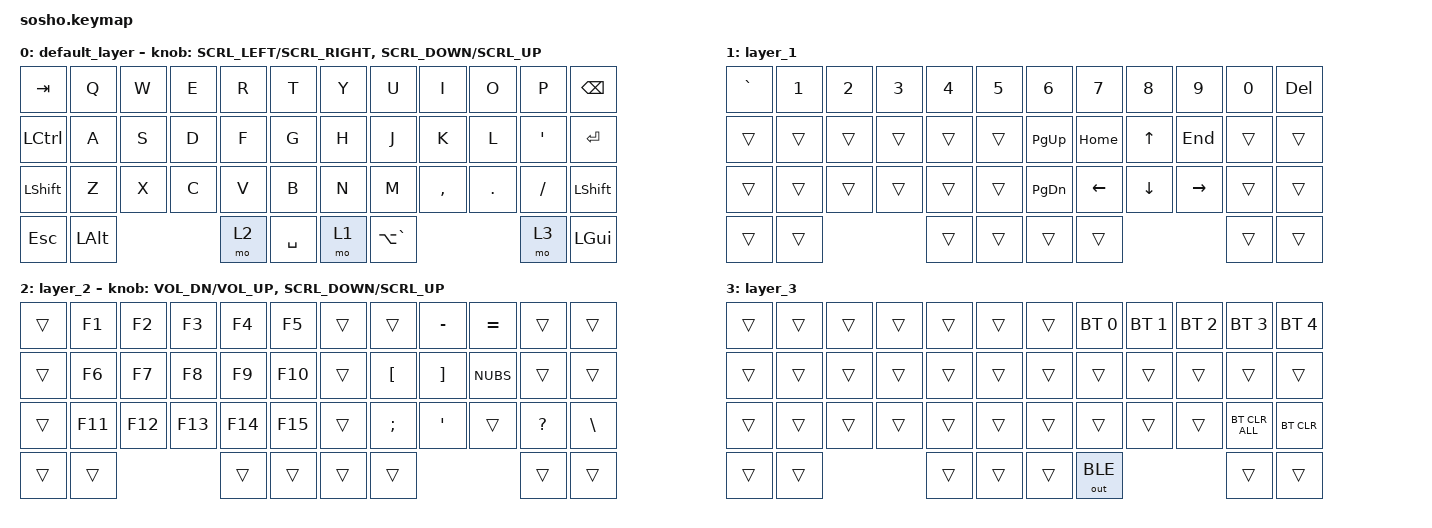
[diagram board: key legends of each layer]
#ifdef CONFIG_ZMK_STUDIO
#undef CONFIG_ZMK_STUDIO
#endif

// 最新ZMKバリアント形式（Zephyr 4.1）に右トラックボールのスクロールを強制適応
&trackball_listener {
    scroller {
        layers = <3>; // レイヤー3を長押し中にスクロール
        input-processors = <&zip_xy_to_scroll_mapper>, <&zip_scroll_scaler 1 128>;
    };
};

// スクロール量の調整（デフォルト150）
#define ZMK_POINTING_DEFAULT_SCRL_VAL 150

#include <behaviors.dtsi>
#include <dt-bindings/zmk/bt.h>
#include <dt-bindings/zmk/keys.h>
#include <dt-bindings/zmk/pointing.h>
#include <dt-bindings/zmk/outputs.h>

// 公式テンプレートの古いマクロ定義との衝突を避けるためのオーバーライド
&msc {
    time-to-max-speed-ms = <0>;
    acceleration-exponent = <0>;
};

/ {
    combos {
        compatible = "zmk,combos";
        // 左クリックのコンボ
        combo_LCLK {
            timeout-ms = <50>;
            key-positions = <19 20>;
            bindings = <&mkp LCLK>;
        };

        // 右クリックのコンボ
        combo_RCLK {
            timeout-ms = <50>;
            key-positions = <20 21>;
            bindings = <&mkp RCLK>;
        };

        // ホイールクリックのコンボ
        combo_MCLK {
            timeout-ms = <90>;
            key-positions = <19 21>;
            bindings = <&mkp MCLK>;
        };
    };
};

/ {
keymap {
    compatible = "zmk,keymap";

    default_layer {
        bindings = <
            &kp TAB    &kp Q   &kp W  &kp E  &kp R  &kp T      &kp Y  &kp U  &kp I      &kp O    &kp P     &kp BSPC
            &kp LCTRL  &kp A   &kp S  &kp D  &kp F  &kp G      &kp H  &kp J  &kp K      &kp L    &kp SQT   &kp ENTER
            &kp LSHFT  &kp Z   &kp X  &kp C  &kp V  &kp B      &kp N  &kp M  &kp COMMA  &kp DOT  &kp SLASH &kp LSHFT
            &kp ESC    &kp LALT              &mo 2  &kp SPACE  &mo 1  &kp LA(GRAVE)              &mo 3     &kp LGUI
        >;
        // 古い非推奨モジュールを完全に排除し、最新標準のスクロールに固定
        sensor-bindings = <&msc SCRL_LEFT SCRL_RIGHT &msc SCRL_DOWN SCRL_UP>;
    };
	
    layer_1 {
        bindings = <
            &kp GRAVE &kp N1  &kp N2  &kp N3  &kp N4  &kp N5       &kp N6    &kp N7   &kp N8   &kp N9    &kp N0 &kp DEL
            &trans    &trans  &trans  &trans  &trans  &trans       &kp PG_UP &kp HOME &kp UP   &kp END   &trans &trans
            &trans    &trans  &trans  &trans  &trans  &trans       &kp PG_DN &kp LEFT &kp DOWN &kp RIGHT &trans &trans
            &trans    &trans                  &trans  &trans       &trans    &trans                      &trans &trans
        >;
    };

    layer_2 {
        bindings = <
            &trans &kp F1  &kp F2  &kp F3  &kp F4  &kp F5     &trans  &trans    &kp MINUS &kp EQUAL &trans     &trans
            &trans &kp F6  &kp F7  &kp F8  &kp F9  &kp F10    &trans  &kp LBKT  &kp RBKT  &kp NUBS  &trans     &trans
            &trans &kp F11 &kp F12 &kp F13 &kp F14 &kp F15    &trans  &kp SEMI  &kp SQT   &trans    &kp QMARK  &kp BSLH
            &trans &trans                  &trans  &trans     &trans  &trans                        &trans     &trans
        >;
        sensor-bindings = <&inc_dec_kp C_VOL_DN C_VOL_UP &msc SCRL_DOWN SCRL_UP>;
    };

    layer_3 {
        bindings = <
            &trans &trans &trans &trans &trans &trans      &trans  &bt BT_SEL 0  &bt BT_SEL 1  &bt BT_SEL 2  &bt BT_SEL 3   &bt BT_SEL 4
            &trans &trans &trans &trans &trans &trans      &trans  &trans        &trans        &trans        &trans         &trans
            &trans &trans &trans &trans &trans &trans      &trans  &trans        &trans        &trans        &bt BT_CLR_ALL &bt BT_CLR
            &trans &trans               &trans &trans      &trans  &out OUT_BLE                                    &trans         &trans
        >;
    };
    scroll {
        status = "reserved";
    };

    extra2 {
        status = "reserved";
    };
};
};
